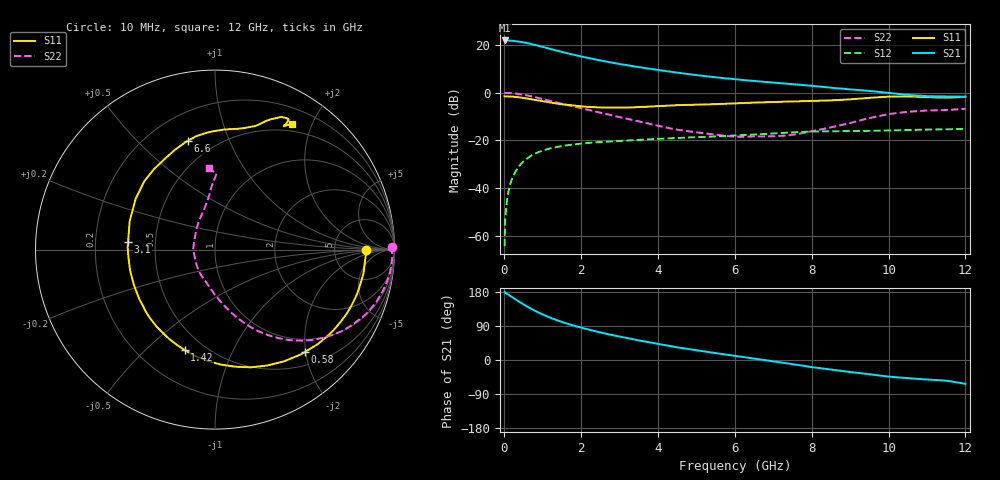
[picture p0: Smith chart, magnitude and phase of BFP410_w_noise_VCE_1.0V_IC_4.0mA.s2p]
! Infineon Technologies  Discrete & RF Semiconductors
! BFP410
! VCE =  1.0 V,  IC =  4.0 mA
! Common Emitter S-Parameters:  Nov 2015
# GHz  S  MA  R  50
!  f  S11  S21  S12  S22
! GHz  MAG  ANG  MAG  ANG  MAG  ANG  MAG  ANG
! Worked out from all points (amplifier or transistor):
!   243 points, 10 MHz to 12 GHz, reference 50 ohm
!   highest |S21| = 21.9 dB at 20 MHz (marker M1)
!   |S21| within 3 dB of that: start of sweep to 1.075 GHz
!   unconditionally stable (mu >= 1): 3.27 GHz to end of sweep
!   at 240 MHz: K = 0.08, MSG = 28.3 dB, |S12| = -34.8 dB
!   at 1.84 GHz: K = 0.58, MSG = 18.7 dB, |S12| = -21.6 dB
!   at 12 GHz: K = 1.07, MAG = 5.1 dB, |S12| = -15.1 dB
!   lowest NFmin = 0.94 dB at 900 MHz
!   S11 on the Smith chart (normalised r, x): 10 MHz: 12, +0; 580 MHz: 0.73, -1.98; 1.42 GHz: 0.39, -0.66; 3.1 GHz: 0.35, +0.04; 6.6 GHz: 0.36, +0.71; 12 GHz: 0.40, +1.71
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0.01  0.8422 0.0  12.38 179.5  0.0006 57.6  0.9883 0.9
0.02  0.8417 -1.6  12.51 178.6  0.0018 89.7  0.9864 -0.6
0.05  0.8382 -4.3  12.44 176.0  0.0037 88.4  0.9885 -2.3
0.11  0.8372 -9.5  12.47 172.5  0.0085 84.5  0.9858 -5.4
0.3  0.8164 -25.8  12.14 159.6  0.0226 76.6  0.9588 -14.9
0.44  0.7905 -37.5  11.67 150.6  0.0323 70.6  0.925 -21.4
0.58  0.7587 -48.9  11.09 142.0  0.0409 65.0  0.8822 -27.4
0.7  0.7317 -58.3  10.58 135.3  0.0477 60.7  0.8432 -32.4
0.9  0.6857 -73.1  9.654 124.9  0.0571 54.2  0.7743 -39.6
1.16  0.6292 -90.9  8.497 113.3  0.0667 47.2  0.6866 -47.6
1.42  0.5838 -106.9  7.473 103.3  0.0739 41.6  0.6086 -54.1
1.68  0.5492 -121.3  6.636 94.6  0.0796 37.0  0.5429 -59.6
2.02  0.5166 -138.4  5.727 85.0  0.0858 32.3  0.4711 -65.6
2.58  0.4878 -164.7  4.622 70.8  0.0933 25.9  0.3684 -74.9
3.1  0.4861 175.1  3.889 59.9  0.0987 21.6  0.2954 -83.2
4.1  0.5277 145.1  2.928 40.7  0.1086 15.1  0.1946 -103.2
5  0.5626 127.3  2.341 25.6  0.1166 10.0  0.1478 -128.9
6.1  0.6018 110.8  1.886 9.6  0.1273 4.6  0.1193 -164.4
6.6  0.6242 104.2  1.735 2.3  0.1336 1.9  0.1209 177.5
8.2  0.6773 82.3  1.346 -21.3  0.1537 -10.8  0.1667 125.7
10.2  0.8308 62.2  0.954 -45.5  0.1625 -23.5  0.3724 91.7
12  0.8222 58.6  0.825 -63.0  0.1748 -36.5  0.4581 94.1
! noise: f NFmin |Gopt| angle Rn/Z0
0.45  0.98  0.32  5  0.21
0.9  0.94  0.3  19  0.2
1.8  1.11  0.22  51  0.18
2.4  1.13  0.21  57  0.19
5.5  2.09  0.32  -131  0.22
10  3.48  0.67  -53  1.85
